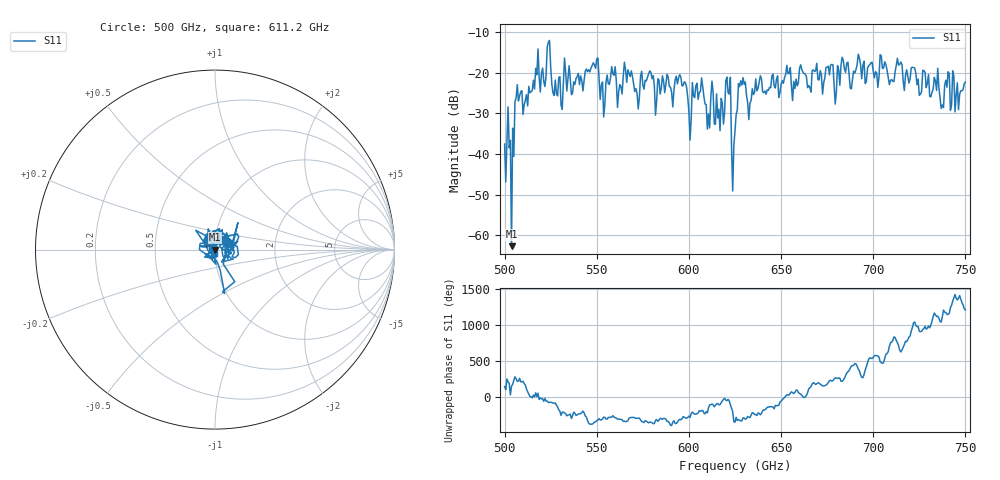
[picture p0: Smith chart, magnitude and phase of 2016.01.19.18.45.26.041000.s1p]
!Created with skrf (http://scikit-rf.org).
# GHz S RI R 50.0
!freq ReS11 ImS11
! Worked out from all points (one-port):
!   401 points, 500 GHz to 750 GHz, reference 50 ohm
!   lowest |S11| = -62.7 dB at 503.8 GHz (marker M1), VSWR 1.00, Z = 49.9 + j0.0381 ohm
!   |S11| at or under -10 dB: start of sweep to end of sweep
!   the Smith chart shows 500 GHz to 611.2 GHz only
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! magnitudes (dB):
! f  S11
! 500 GHz  -37.5
! 503.8 GHz  -62.7
! 507.5 GHz  -26.9
! 511.2 GHz  -26.8
! 523.8 GHz  -12.4
! 526.9 GHz  -25.6
! 531.2 GHz  -29.0
! 549.4 GHz  -18.9
! 553.1 GHz  -22.3
! 558.8 GHz  -20.2
! 562.5 GHz  -22.9
! 566.2 GHz  -22.4
! 571.9 GHz  -25.2
! 593.8 GHz  -22.7
! 600 GHz  -29.6
! 606.9 GHz  -21.3
! 610 GHz  -33.9
! 618.1 GHz  -27.4
! 621.2 GHz  -24.9
! 623.1 GHz  -38.3
! 625 GHz  -34.3
! 628.1 GHz  -22.0
! 632.5 GHz  -31.5
! 656.2 GHz  -26.8
! 687.5 GHz  -23.8
! 718.8 GHz  -20.9
! 736.9 GHz  -28.8
! 750 GHz  -22.3
